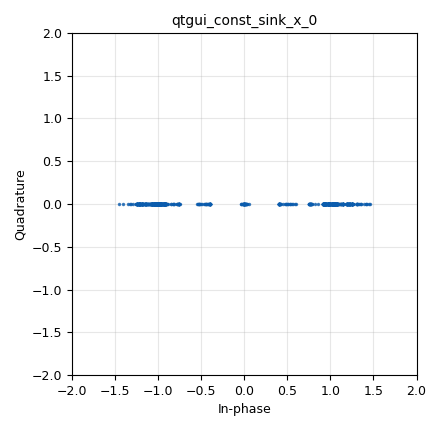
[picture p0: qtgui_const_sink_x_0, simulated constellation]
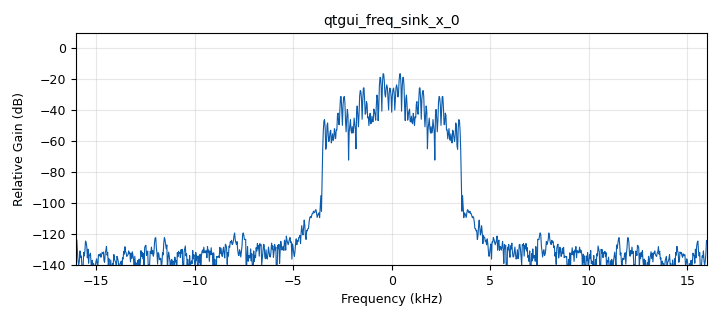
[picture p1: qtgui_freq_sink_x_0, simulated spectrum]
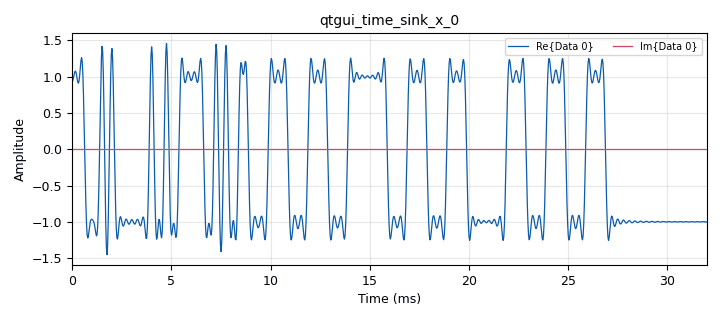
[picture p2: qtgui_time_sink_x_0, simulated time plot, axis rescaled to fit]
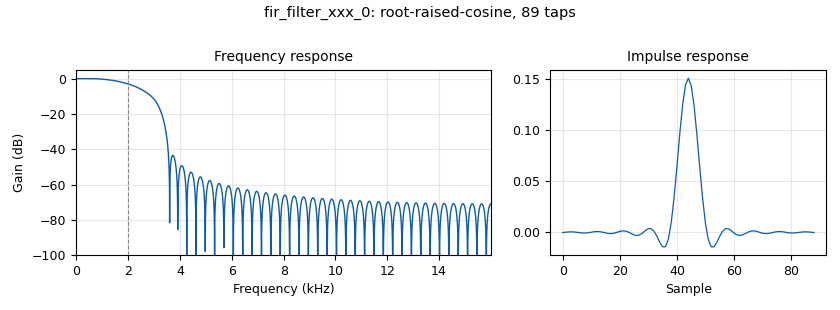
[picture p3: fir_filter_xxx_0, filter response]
options:
  parameters:
    author: jonkler
    generate_options: qt_gui
    id: top_block
    output_language: python
    title: BPSK Transmitter and Receptor
  states: {}

blocks:
- name: BPSK
  id: variable_constellation
  parameters:
    const_points: '[-1+0j, 1+0j]'
    dims: '1'
    normalization: digital.constellation.AMPLITUDE_NORMALIZATION
    precision: '8'
    rot_sym: '2'
    sym_map: '[0, 1]'
    type: calcdist
  states: {}
- name: loop_bandwidth
  id: variable
  parameters:
    value: 2*3.1415*0
  states: {}
- name: noise_voltage
  id: variable
  parameters:
    value: '0'
  states: {}
- name: rolloff
  id: variable
  parameters:
    value: '0.75'
  states: {}
- name: rrc_taps
  id: variable
  parameters:
    value: firdes.root_raised_cosine(1.0, samp_rate, samp_rate/sps, rolloff, 11*sps)
  states: {}
- name: samp_rate
  id: variable
  parameters:
    value: '32000'
  states: {}
- name: sps
  id: variable
  parameters:
    value: '8'
  states: {}
- name: blocks_complex_to_real_0
  id: blocks_complex_to_real
  parameters: {}
  states: {}
- name: blocks_file_sink_0
  id: blocks_file_sink
  parameters:
    file: C:\Users\Antonio\Downloads\Tele\lab2\lab2\bpsk_sent.dat
    type: byte
    unbuffered: 'True'
  states: {}
- name: blocks_file_sink_1
  id: blocks_file_sink
  parameters:
    file: C:\Users\Antonio\Downloads\Tele\lab2\lab2\bpsk_rec.dat
    type: byte
    unbuffered: 'True'
  states: {}
- name: blocks_pack_k_bits_bb_0
  id: blocks_pack_k_bits_bb
  parameters:
    k: '8'
  states: {}
- name: blocks_throttle2_0
  id: blocks_throttle2
  parameters:
    samples_per_second: samp_rate
    type: complex
  states: {}
- name: blocks_vector_source_x_0
  id: blocks_vector_source_x
  parameters:
    repeat: 'False'
    type: byte
    vector: '[240,240,240,15,15,15,240,240,240,]+[9,62,9,9,62,40,9,62,83,]+[15,15,15,240,240,240,15,15,15,0,0,0,0,0,0,0,0]'
  states: {}
- name: channels_channel_model_0
  id: channels_channel_model
  parameters:
    epsilon: '1.0'
    freq_offset: '0.0'
    noise_voltage: noise_voltage
    seed: '0'
    taps: 1.0 + 1.0j
  states: {}
- name: digital_binary_slicer_fb_0
  id: digital_binary_slicer_fb
  parameters: {}
  states: {}
- name: digital_constellation_modulator_0
  id: digital_constellation_modulator
  parameters:
    constellation: BPSK
    differential: 'False'
    excess_bw: rolloff
    samples_per_symbol: sps
  states: {}
- name: digital_symbol_sync_xx_0
  id: digital_symbol_sync_xx
  parameters:
    damping: '1.0'
    loop_bw: loop_bandwidth
    max_dev: '1.5'
    osps: '1'
    resamp_type: digital.IR_MMSE_8TAP
    sps: sps
    ted_gain: '1.0'
    ted_type: digital.TED_SIGNAL_TIMES_SLOPE_ML
    type: cc
  states: {}
- name: fir_filter_xxx_0
  id: fir_filter_xxx
  parameters:
    decim: '1'
    taps: rrc_taps
    type: ccf
  states: {}
- name: qtgui_const_sink_x_0
  id: qtgui_const_sink_x
  parameters:
    size: '1024'
    type: complex
  states: {}
- name: qtgui_freq_sink_x_0
  id: qtgui_freq_sink_x
  parameters:
    bw: samp_rate
    fc: '0'
    fftsize: '1024'
    type: complex
  states: {}
- name: qtgui_time_sink_x_0
  id: qtgui_time_sink_x
  parameters:
    size: '1024'
    srate: samp_rate
    type: complex
  states: {}
- name: virtual_sink_0
  id: virtual_sink
  parameters:
    stream_id: BPSK_mod
  states: {}
- name: virtual_sink_0_0
  id: virtual_sink
  parameters:
    stream_id: BPSK_mod2
  states: {}
- name: virtual_source_0
  id: virtual_source
  parameters:
    stream_id: BPSK_mod
  states: {}
- name: virtual_source_0_0
  id: virtual_source
  parameters:
    stream_id: BPSK_mod2
  states: {}

connections:
- [blocks_complex_to_real_0, '0', digital_binary_slicer_fb_0, '0']
- [blocks_pack_k_bits_bb_0, '0', blocks_file_sink_1, '0']
- [blocks_throttle2_0, '0', virtual_sink_0, '0']
- [blocks_vector_source_x_0, '0', blocks_file_sink_0, '0']
- [blocks_vector_source_x_0, '0', digital_constellation_modulator_0, '0']
- [channels_channel_model_0, '0', fir_filter_xxx_0, '0']
- [digital_binary_slicer_fb_0, '0', blocks_pack_k_bits_bb_0, '0']
- [digital_constellation_modulator_0, '0', blocks_throttle2_0, '0']
- [digital_constellation_modulator_0, '0', qtgui_const_sink_x_0, '0']
- [digital_constellation_modulator_0, '0', qtgui_freq_sink_x_0, '0']
- [digital_constellation_modulator_0, '0', qtgui_time_sink_x_0, '0']
- [digital_symbol_sync_xx_0, '0', virtual_sink_0_0, '0']
- [fir_filter_xxx_0, '0', digital_symbol_sync_xx_0, '0']
- [virtual_source_0, '0', channels_channel_model_0, '0']
- [virtual_source_0_0, '0', blocks_complex_to_real_0, '0']

metadata:
  file_format: 1
  grc_version: 3.10.10.0
